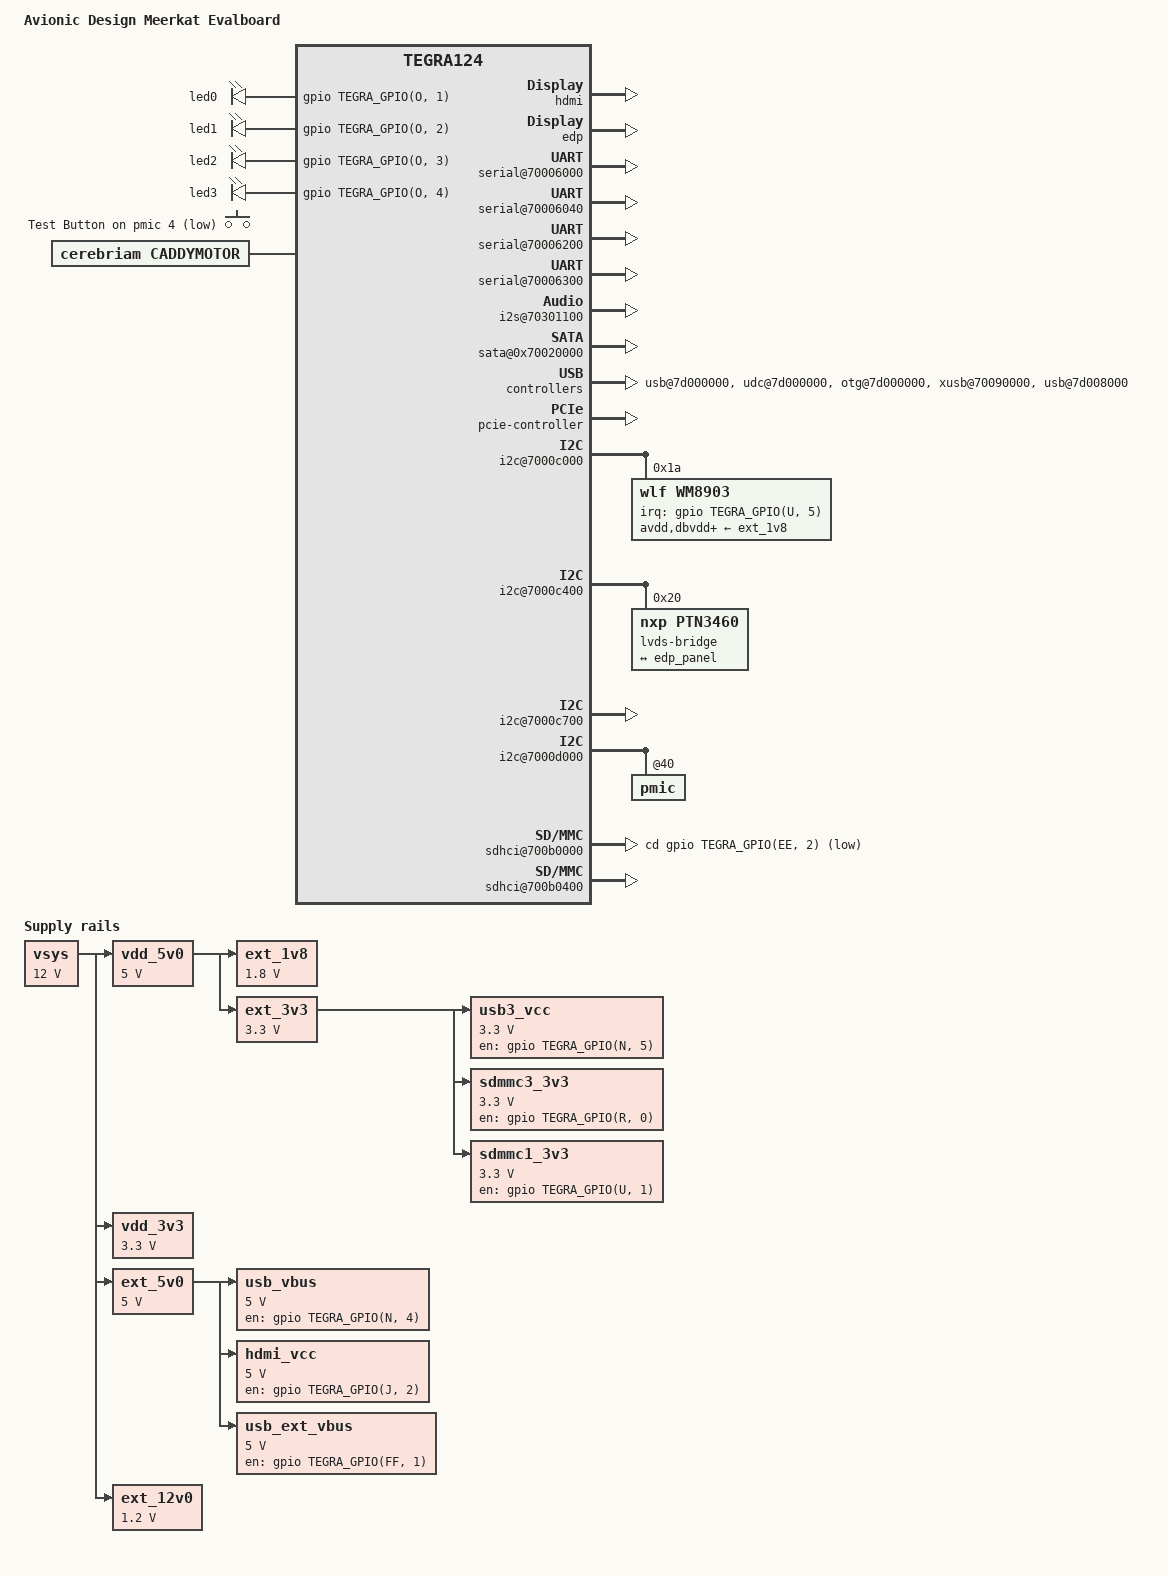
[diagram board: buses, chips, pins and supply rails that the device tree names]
/dts-v1/;

#include "tegra124-meerkat.dtsi"
#include "panel-ch070oldl-002.dtsi"

/ {
	model = "Avionic Design Meerkat Evalboard";
	compatible = "ad,meerkat-evalboard", "ad,meerkat", "nvidia,tegra124";
	nvidia,dtsfilename = __FILE__;

	pinmux {
		common {
			dap2_din_pa4 {
				nvidia,tristate = <TEGRA_PIN_DISABLE>;
			};
			dap2_dout_pa5 {
				nvidia,tristate = <TEGRA_PIN_DISABLE>;
			};
			dap2_fs_pa2 {
				nvidia,tristate = <TEGRA_PIN_DISABLE>;
			};
			dap2_sclk_pa3 {
				nvidia,tristate = <TEGRA_PIN_DISABLE>;
			};
			dap3_fs_pp0 {
				nvidia,tristate = <TEGRA_PIN_DISABLE>;
			};
			uart3_rxd_pw7 {
				nvidia,tristate = <TEGRA_PIN_DISABLE>;
			};
			uart3_txd_pw6 {
				nvidia,tristate = <TEGRA_PIN_DISABLE>;
			};
			uart2_rxd_pc3 {
				nvidia,tristate = <TEGRA_PIN_DISABLE>;
				nvidia,function = "uartb";
			};
			uart2_txd_pc2 {
			
				nvidia,tristate = <TEGRA_PIN_DISABLE>;
				nvidia,function = "uartb";
			};
			ph3 {
				nvidia,function = "pwm3";
				nvidia,tristate = <TEGRA_PIN_DISABLE>;
			};
			dp_hpd_pff0 {
				nvidia,function = "safe";
				nvidia,pull = <TEGRA_PIN_PULL_DOWN>;
			};
		};
	};

	host1x {
		dc@54200000 {
			status = "okay";

			nvidia,dc-connection = "external-display";
			vdd_hdmi_5v0-supply = <&hdmi_vcc>;
		};

		hdmi {
			status = "okay";
		};
		dc@54240000 {
			status = "okay";

			nvidia,dc-connection = "internal-lcd";
			panel = <&edp_panel>;
		};

		sor@54540000 {
			status = "okay";
		};

		edp {
			status = "okay";
			/* GPIO used for hotplug detection
			 * WARNING: the flags given here are ignored.
			 * hdmi-display/disp-default-out/nvidia,out-flags
			 * must be used instead */
			nvidia,hpd-gpio = <&gpio TEGRA_GPIO(FF, 0) GPIO_ACTIVE_HIGH>;
			nvidia,ddc-i2c-bus = <&i2c2>;
			edp_panel: panel-ch070oldl-002 {
			};
		};
	};

	serial@70006000 {
		compatible = "nvidia,tegra114-hsuart", "nvidia,tegra30-hsuart";
		status = "okay";
	};

	serial@70006040 {
		compatible = "nvidia,tegra114-hsuart", "nvidia,tegra30-hsuart";
		status = "okay";
	};

	serial@70006200 {
		compatible = "nvidia,tegra114-hsuart", "nvidia,tegra30-hsuart";
		status = "okay";
	};

	serial@70006300 {
		status = "okay";
	};

	ahub {
		status = "okay";
		i2s@70301100 {
			status = "okay";
		};
	};

	/* SATA */
	sata@0x70020000 {
		status = "okay";
		vdd_sata-supply = <&ext_5v0>;
	};

	/* Recovery USB */
	usb@7d000000 {
		status = "okay";
		nvidia,port-otg;
		nvidia,mode = <TEGRA_USB_OPMODE_DEVICE>;
		nvidia,remote-wakeup-supported;
		nvidia,power-off-on-suspend;

		usb_vbus-supply = <&usb_vbus>;
	};

	udc@7d000000 {
		status = "okay";

		usb_vbus-supply = <&usb_vbus>;
	};

	otg@7d000000 {
		status = "okay";

		usb_vbus-supply = <&usb_vbus>;
	};

	/* USB 3.0 */
	xusb@70090000 {
		status = "okay";
		nvidia,gpio_ss1_sata = <0>;
		nvidia,portmap = <(XUSB_MUX_USB2_P1 | XUSB_MUX_SS_P0)>;
		nvidia,ss_portmap = <XUSB_PADCTL_SS_PORTMAP(P1, DISABLE)>;
		nvidia,lane_owner = <0>;
		nvidia,ulpicap = <0>;
		usb_vbus1-supply = <&usb3_vcc>;
	};

	/* Expansion header USB */
	usb@7d008000 {
		status = "okay";
		usb_vbus-supply = <&usb_ext_vbus>;
	};

	pcie-controller {
		nvidia,port0_status = <0>;
		nvidia,port1_status = <1>;
		nvidia,lanes = <TEGRA_PCIE_LANES_X2_X1>;
		status = "okay";
	};

	i2c@7000c000 {
		status = "okay";

		wm8903: audio-codec@1a {
			compatible = "wlf,wm8903";
			reg = <0x1a>;

			interrupt-parent = <&gpio>;
			interrupts = <TEGRA_GPIO(U, 5) IRQ_TYPE_LEVEL_HIGH>;

			avdd-supply = <&ext_1v8>;
			dbvdd-supply = <&ext_1v8>;
			cpvdd-supply = <&ext_1v8>;
			dcvdd-supply = <&ext_1v8>;

			gpio-controller;
			#gpio-cells = <2>;

			micdet-cfg = <0>;
			micdet-delay = <100>;
		};
	};

	i2c@7000c400 {
		status = "okay";

		lvds-bridge@20 {
			compatible = "nxp,ptn3460";
			reg = <0x20>;
			powerdown-gpio = <TEGRA_GPIO(U, 1)>;
			reset-gpio = <TEGRA_GPIO(H, 1)>;
			edid-emulation = <5>;
			ports {
				port@0 {
					bridge_out: endpoint {
						remote-endpoint = <&edp_panel>;
					};
				};
			};
		};
	};
	
	/* HDMI DDC */
	i2c@7000c700 {
		status = "okay";
	};

	i2c@7000d000 {
		pmic@40 {
			ams,backup-battery-chargable;
			ams,battery-backup-charge-voltage = <AS3722_BBVOLT_3_0V>;
			ams,battery-backup-charge-current = <AS3722_BBCCUR_50UA>;
			ams,battery-backup-enable-bypass;
			ams,battery-backup-charge-mode = <AS3722_BBCMODE_ACT_STBY_OFF>;

			test_btn_pinmux: pinmux@1 {
				gpio4 {
					pins = "gpio4";
					function = "gpio";
					bias-disable;
					input-enable;
				};
			};
		};
	};

	hda@70030000 {
		status = "okay";
	};

	avp-audio {
		compatible = "nvidia,tegra124-avp-audio", "nvidia,tegra30-avp-audio";
	};

	audio-offload {
		compatible = "nvidia,tegra-offload";
	};

	sound {
		compatible = "ad,tegra-audio-wm8903-medcom-wide",
			     "nvidia,tegra-audio-wm8903";
		nvidia,model = "Opticorder WM8903";

		nvidia,audio-routing =
			"Headphone Jack", "LINEOUTR",
			"Headphone Jack", "LINEOUTL",
			"Int Spk", "ROP",
 			"Int Spk", "RON",
 			"Int Spk", "LOP",
 			"Int Spk", "LON",
			"Mic Jack", "MICBIAS",
			"IN1R", "Mic Jack",
			"IN1L", "Mic Jack";

		nvidia,memory-clients = <SWGID_PPCS>;
		nvidia,i2s-controller = <&tegra_i2s1>;
		nvidia,i2s-is-master;
		nvidia,audio-codec = <&wm8903>;
	};

	/* MMC / SDIO card slot */
	sdhci@700b0000 {
		status = "okay";
		cd-gpios = <&gpio TEGRA_GPIO(EE, 2) GPIO_ACTIVE_LOW>;
		vddio_sd_slot-supply = <&sdmmc1_3v3>;
	};

	/* MMC card slot */
	sdhci@700b0400 {
		status = "okay";
		vddio_sd_slot-supply = <&sdmmc3_3v3>;
	};

	regulators {
		vsys: regulator@100 {
			compatible = "regulator-fixed";
			reg = <100>;
			regulator-name = "VSYS";
			regulator-min-microvolt = <12000000>;
			regulator-max-microvolt = <12000000>;
			regulator-always-on;
			regulator-boot-on;
		};

		vdd_5v0: regulator@101 {
			compatible = "regulator-fixed";
			reg = <101>;
			regulator-name = "+5V_VSYS";
			regulator-min-microvolt = <5000000>;
			regulator-max-microvolt = <5000000>;
			regulator-always-on;
			regulator-boot-on;
			vin-supply = <&vsys>;
		};

		vdd_3v3: regulator@102 {
			compatible = "regulator-fixed";
			reg = <102>;
			regulator-name = "+3V3_VSYS";
			regulator-min-microvolt = <3300000>;
			regulator-max-microvolt = <3300000>;
			regulator-always-on;
			regulator-boot-on;
			vin-supply = <&vsys>;
		};

		ext_5v0: regulator@103 {
			compatible = "regulator-fixed";
			reg = <103>;
			regulator-name = "+5V_EXT";
			regulator-min-microvolt = <5000000>;
			regulator-max-microvolt = <5000000>;
			regulator-always-on;
			regulator-boot-on;
			vin-supply = <&vsys>;
		};

		ext_1v8: regulator@104 {
			compatible = "regulator-fixed";
			reg = <104>;
			regulator-name = "+1V8_EXT";
			regulator-min-microvolt = <1800000>;
			regulator-max-microvolt = <1800000>;
			regulator-always-on;
			regulator-boot-on;
			vin-supply = <&vdd_5v0>;
		};

		ext_3v3: regulator@105 {
			compatible = "regulator-fixed";
			reg = <105>;
			regulator-name = "+3V3_EXT";
			regulator-min-microvolt = <3300000>;
			regulator-max-microvolt = <3300000>;
			regulator-always-on;
			regulator-boot-on;
			vin-supply = <&vdd_5v0>;
		};

		ext_12v0: regulator@106 {
			compatible = "regulator-fixed";
			reg = <106>;
			regulator-name = "+12V_EXT";
			regulator-min-microvolt = <1200000>;
			regulator-max-microvolt = <1200000>;
			regulator-always-on;
			regulator-boot-on;
			vin-supply = <&vsys>;
		};

		usb_vbus: regulator@107 {
			compatible = "regulator-fixed";
			reg = <107>;
			regulator-name = "USB_VBUS";
			regulator-min-microvolt = <5000000>;
			regulator-max-microvolt = <5000000>;
			gpio = <&gpio TEGRA_GPIO(N, 4) GPIO_ACTIVE_HIGH>;
			enable-active-high;
			gpio-open-drain;
			vin-supply = <&ext_5v0>;
		};

		usb3_vcc: regulator@108 {
			compatible = "regulator-fixed";
			reg = <108>;
			regulator-name = "USB3_VCC";
			regulator-min-microvolt = <3300000>;
			regulator-max-microvolt = <3300000>;
			gpio = <&gpio TEGRA_GPIO(N, 5) GPIO_ACTIVE_HIGH>;
			enable-active-high;
			gpio-open-drain;
			vin-supply = <&ext_3v3>;
		};

		sdmmc3_3v3: regulator@109 {
			compatible = "regulator-fixed";
			reg = <109>;
			regulator-name = "+3V3_SDMMC3";
			regulator-min-microvolt = <3300000>;
			regulator-max-microvolt = <3300000>;
			regulator-enable-ramp-delay = <30000>;
			gpio = <&gpio TEGRA_GPIO(R, 0) GPIO_ACTIVE_HIGH>;
			enable-active-high;
			vin-supply = <&ext_3v3>;
		};

		sdmmc1_3v3: regulator@110 {
			compatible = "regulator-fixed";
			reg = <110>;
			regulator-name = "+3V3_SDMMC1";
			regulator-min-microvolt = <3300000>;
			regulator-max-microvolt = <3300000>;
			regulator-enable-ramp-delay = <30000>;
			gpio = <&gpio TEGRA_GPIO(U, 1) GPIO_ACTIVE_HIGH>;
			enable-active-high;
			vin-supply = <&ext_3v3>;
		};

		hdmi_vcc: regulator@111 {
			compatible = "regulator-fixed";
			reg = <111>;
			regulator-name = "HDMI_VCC";
			regulator-min-microvolt = <5000000>;
			regulator-max-microvolt = <5000000>;
			gpio = <&gpio TEGRA_GPIO(J, 2) GPIO_ACTIVE_HIGH>;
			enable-active-high;
			vin-supply = <&ext_5v0>;
		};

		usb_ext_vbus: regulator@112 {
			compatible = "regulator-fixed";
			reg = <112>;
			regulator-name = "USB_VBUS_EXT";
			regulator-min-microvolt = <5000000>;
			regulator-max-microvolt = <5000000>;
			gpio = <&gpio TEGRA_GPIO(FF, 1) GPIO_ACTIVE_HIGH>;
			enable-active-high;
			gpio-open-drain;
			vin-supply = <&ext_5v0>;
		};
	};

	pwm-fan {
		status = "okay";
	};

	leds {
		compatible = "gpio-leds";

		led0 {
			gpios = <&gpio TEGRA_GPIO(O, 1) GPIO_ACTIVE_HIGH>;
			default-state = "keep";
		};

		led1 {
			gpios = <&gpio TEGRA_GPIO(O, 2) GPIO_ACTIVE_HIGH>;
			default-state = "keep";
		};

		led2 {
			gpios = <&gpio TEGRA_GPIO(O, 3) GPIO_ACTIVE_HIGH>;
			default-state = "keep";
		};

		led3 {
			gpios = <&gpio TEGRA_GPIO(O, 4) GPIO_ACTIVE_HIGH>;
			default-state = "keep";
		};
	};

	buttons {
		compatible = "gpio-keys-polled";
		#address-cells = <1>;
		#size-cells = <0>;

		pinctrl-names = "default";
		pinctrl-0 = <&test_btn_pinmux>;

		poll-interval = <100>;

		button@0 {
			reg = <0>;
			label = "Test Button";
			linux,code = <KEY_ENTER>;

			gpios = <&pmic 4 GPIO_ACTIVE_LOW>;
		};
	};
	
	caddymotor {
		compatible = "cerebriam,caddymotor";
		
		motor@0 {
			gpio-clk = <&gpio TEGRA_GPIO(H,3) GPIO_ACTIVE_HIGH>;
			gpio-en = <&gpio TEGRA_GPIO(H,5) GPIO_ACTIVE_HIGH>;
			gpio-dir = <&gpio TEGRA_GPIO(H,6) GPIO_ACTIVE_HIGH>;
			gpio-reset = <&gpio TEGRA_GPIO(I,2) GPIO_ACTIVE_HIGH>;
			gpio-half-full = <&gpio TEGRA_GPIO(I,5) GPIO_ACTIVE_HIGH>;
			gpio-control = <&gpio TEGRA_GPIO(I,7) GPIO_ACTIVE_HIGH>;
		};
		motor@1 {
			gpio-clk = <&gpio TEGRA_GPIO(K,0) GPIO_ACTIVE_HIGH>;
			gpio-en = <&gpio TEGRA_GPIO(J,0) GPIO_ACTIVE_HIGH>;
			gpio-dir = <&gpio TEGRA_GPIO(K,1) GPIO_ACTIVE_HIGH>;
			gpio-reset = <&gpio TEGRA_GPIO(K,2) GPIO_ACTIVE_HIGH>;
			gpio-half-full = <&gpio TEGRA_GPIO(K,3) GPIO_ACTIVE_HIGH>;
			gpio-control = <&gpio TEGRA_GPIO(K,4) GPIO_ACTIVE_HIGH>;
		};
	};
};
